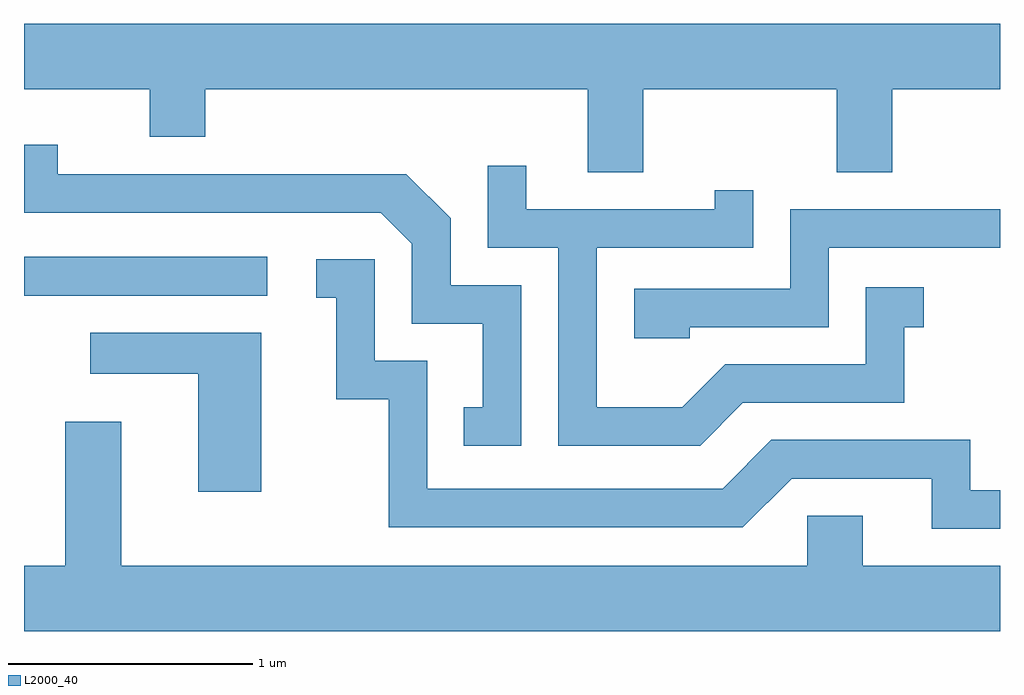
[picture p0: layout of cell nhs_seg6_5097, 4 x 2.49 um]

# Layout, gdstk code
import gdstk
lib = gdstk.Library(unit=1e-6, precision=1e-09)
def R(c, l, rs):  # rectangles x0, y0, x1, y1
    for r in rs: c.add(gdstk.rectangle(r[:2], r[2:], *l))
def P(c, l, *ps):  # polygons
    for p in ps: c.add(gdstk.Polygon(p, *l))
L2000_40 = (2000, 40)

nhs_seg6_5097 = lib.new_cell('nhs_seg6_5097')
R(nhs_seg6_5097, L2000_40, [(339.611,1660.191,340.608,1660.349)])
P(nhs_seg6_5097, L2000_40, [(339.611,1661.036),(340.126,1661.036),(340.126,1660.841),(340.354,1660.841),(340.354,1661.036),(341.921,1661.036),(341.921,1660.696),(342.149,1660.696),(342.149,1661.036),(342.941,1661.036),(342.941,1660.696),(343.169,1660.696),(343.169,1661.036),(343.611,1661.036),(343.611,1661.304),(339.611,1661.304)],
  [(341.649,1660.234),(341.359,1660.234),(341.359,1660.507),(341.177,1660.689),(339.749,1660.689),(339.749,1660.809),(339.611,1660.809),(339.611,1660.531),(341.074,1660.531),(341.201,1660.404),(341.201,1660.076),(341.491,1660.076),(341.491,1659.734),(341.413,1659.734),(341.413,1659.576),(341.649,1659.576)],
  [(342.557,1659.751),(343.219,1659.751),(343.219,1660.061),(343.298,1660.061),(343.298,1660.224),(343.061,1660.224),(343.061,1659.909),(342.484,1659.909),(342.309,1659.734),(341.959,1659.734),(341.959,1660.386),(342.599,1660.386),(342.599,1660.623),(342.441,1660.623),(342.441,1660.544),(341.669,1660.544),(341.669,1660.723),(341.511,1660.723),(341.511,1660.386),(341.801,1660.386),(341.801,1659.576),(342.382,1659.576)],
  [(342.339,1660.061),(342.909,1660.061),(342.909,1660.386),(343.611,1660.386),(343.611,1660.544),(342.751,1660.544),(342.751,1660.219),(342.111,1660.219),(342.111,1660.016),(342.339,1660.016)],
  [(343.611,1659.394),(343.489,1659.394),(343.489,1659.599),(342.674,1659.599),(342.474,1659.399),(341.264,1659.399),(341.264,1659.924),(341.049,1659.924),(341.049,1660.339),(340.808,1660.339),(340.808,1660.181),(340.891,1660.181),(340.891,1659.766),(341.106,1659.766),(341.106,1659.241),(342.557,1659.241),(342.757,1659.441),(343.331,1659.441),(343.331,1659.236),(343.611,1659.236)],
  [(340.584,1660.039),(339.883,1660.039),(339.883,1659.871),(340.326,1659.871),(340.326,1659.386),(340.584,1659.386)],
  [(343.611,1659.084),(343.049,1659.084),(343.049,1659.289),(342.821,1659.289),(342.821,1659.084),(340.009,1659.084),(340.009,1659.674),(339.781,1659.674),(339.781,1659.084),(339.611,1659.084),(339.611,1658.816),(343.611,1658.816)])

lib.write_gds('nhs_seg6_5097.gds')
